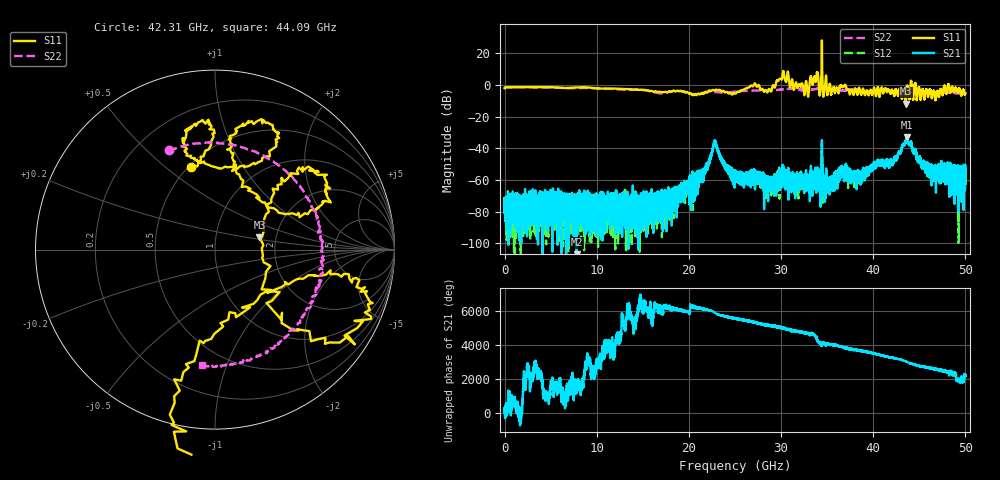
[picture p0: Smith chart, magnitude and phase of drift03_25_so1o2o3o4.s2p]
!Created with skrf (http://scikit-rf.org).
# Hz S RI R 50.0
!freq ReS11 ImS11 ReS21 ImS21 ReS12 ImS12 ReS22 ImS22
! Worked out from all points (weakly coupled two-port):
!   10000 points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, 5.3 MHz to 50 GHz, reference 50 ohm
!   highest |S21| = -32.88 dB at 43.64 GHz (marker M1); lowest = -119.4 dB at 7.83 GHz (marker M2)
!   lowest |S11| = -11.8 dB at 43.52 GHz (marker M3), VSWR 1.69, Z = 81.8 + j12.1 ohm
!   |S11| at or under -10 dB: 43.488 GHz to 43.54437 GHz (56.37 MHz wide, 0.13 % of centre); 43.54736 GHz to 43.55269 GHz (5.331 MHz wide, 0.0122 % of centre)
!   |S22| runs from -5.9 to -1.3 dB; largest |S21 - S12| = 0.011
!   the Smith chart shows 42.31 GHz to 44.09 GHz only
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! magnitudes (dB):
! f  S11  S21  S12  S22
! 5.3 MHz  -2.1  -81.0  -70.8  -2.1
! 310.3 MHz  -1.4  -87.5  -88.6  -1.4
! 7.83 GHz  -1.6  -119.4  -77.3  -1.9
! 8.34 GHz  -1.5  -71.4  -78.2  -1.9
! 16.67 GHz  -4.4  -76.0  -80.5  -5.2
! 20.69 GHz  -6.0  -58.7  -58.9  -5.8
! 21.84 GHz  -4.5  -53.0  -53.4  -4.4
! 22.82 GHz  -3.4  -35.2  -35.6  -4.5
! 25.01 GHz  -5.5  -57.1  -57.9  -4.3
! 28.88 GHz  -4.1  -62.0  -61.3  -3.5
! 30.14 GHz  4.4  -57.6  -55.8  -2.8
! 32.74 GHz  2.0  -61.1  -56.3  -3.3
! 33.34 GHz  2.6  -57.3  -56.6  -2.9
! 33.82 GHz  3.9  -68.2  -58.5  -2.6
! 34.86 GHz  5.3  -60.1  -61.3  -2.4
! 36.48 GHz  -0.5  -56.2  -54.2  -3.8
! 38.13 GHz  -3.0  -57.7  -56.9  -2.9
! 41.67 GHz  -3.1  -51.3  -50.4  -3.7
! 43.52 GHz  -11.8  -35.6  -36.0  -4.3
! 43.64 GHz  -2.1  -32.9  -33.5  -4.0
! 46.35 GHz  -8.0  -53.0  -53.9  -5.6
! 50 GHz  -5.3  -56.0  -59.1  -5.0
